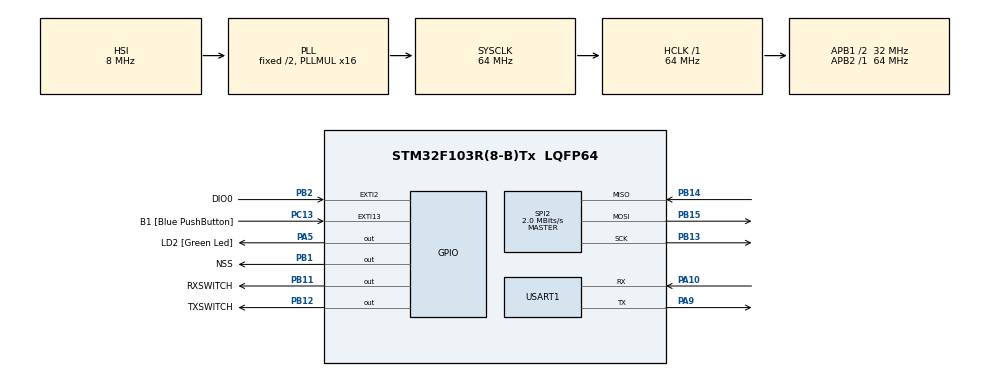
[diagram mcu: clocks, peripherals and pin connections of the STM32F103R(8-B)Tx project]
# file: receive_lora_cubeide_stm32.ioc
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Mcu.Family=STM32F1
Mcu.Name=STM32F103R(8-B)Tx
Mcu.Package=LQFP64
NVIC.EXTI15_10_IRQn=true\:0\:0\:false\:false\:true\:true\:true\:true
NVIC.EXTI2_IRQn=true\:0\:0\:false\:false\:true\:true\:true\:true
NVIC.PriorityGroup=NVIC_PRIORITYGROUP_4
PA10.Mode=Asynchronous
PA10.Signal=USART1_RX
PA13.GPIO_Label=TMS
PA13.Mode=Serial_Wire
PA13.Signal=SYS_JTMS-SWDIO
PA14.GPIO_Label=TCK
PA14.Mode=Serial_Wire
PA14.Signal=SYS_JTCK-SWCLK
PA2.GPIO_Label=USART_TX
PA2.GPIO_Mode=GPIO_MODE_AF_PP
PA2.GPIO_PuPd=GPIO_NOPULL
PA2.GPIO_Speed=GPIO_SPEED_FREQ_LOW
PA2.Signal=USART2_TX
PA3.GPIO_Label=USART_RX
PA3.GPIO_Mode=GPIO_MODE_AF_PP
PA3.GPIO_PuPd=GPIO_NOPULL
PA3.GPIO_Speed=GPIO_SPEED_FREQ_LOW
PA3.Signal=USART2_RX
PA5.GPIO_Label=LD2 [Green Led]
PA5.GPIO_ModeDefaultOutputPP=GPIO_MODE_OUTPUT_PP
PA5.GPIO_PuPd=GPIO_NOPULL
PA5.GPIO_Speed=GPIO_SPEED_FREQ_LOW
PA5.Signal=GPIO_Output
PA9.Mode=Asynchronous
PA9.Signal=USART1_TX
PB1.GPIO_Label=NSS
PB1.PinState=GPIO_PIN_SET
PB1.Signal=GPIO_Output
PB11.GPIO_Label=RXSWITCH
PB11.PinState=GPIO_PIN_SET
PB11.Signal=GPIO_Output
PB12.GPIO_Label=TXSWITCH
PB12.GPIO_PuPd=GPIO_PULLDOWN
PB12.PinState=GPIO_PIN_RESET
PB12.Signal=GPIO_Output
PB13.Mode=Full_Duplex_Master
PB13.Signal=SPI2_SCK
PB14.Mode=Full_Duplex_Master
PB14.Signal=SPI2_MISO
PB15.Mode=Full_Duplex_Master
PB15.Signal=SPI2_MOSI
PB2.GPIO_Label=DIO0
PB2.Signal=GPXTI2
PB3.GPIO_Label=SWO
PB3.Signal=SYS_JTDO-TRACESWO
PC13-TAMPER-RTC.GPIO_Label=B1 [Blue PushButton]
PC13-TAMPER-RTC.GPIO_PuPd=GPIO_NOPULL
PC13-TAMPER-RTC.Signal=GPXTI13
PC14-OSC32_IN.Mode=LSE-External-Oscillator
PC14-OSC32_IN.Signal=RCC_OSC32_IN
PC15-OSC32_OUT.Mode=LSE-External-Oscillator
PC15-OSC32_OUT.Signal=RCC_OSC32_OUT
PD0-OSC_IN.Mode=HSE-External-Clock-Source
PD0-OSC_IN.Signal=RCC_OSC_IN
PD1-OSC_OUT.Mode=HSE-External-Clock-Source
PD1-OSC_OUT.Signal=RCC_OSC_OUT
ProjectManager.HeapSize=0x200
ProjectManager.StackSize=0x400
ProjectManager.TargetToolchain=STM32CubeIDE
RCC.AHBFreq_Value=64000000
RCC.APB1CLKDivider=RCC_HCLK_DIV2
RCC.APB1Freq_Value=32000000
RCC.APB1TimFreq_Value=64000000
RCC.APB2Freq_Value=64000000
RCC.APB2TimFreq_Value=64000000
RCC.HCLKFreq_Value=64000000
RCC.PLLMUL=RCC_PLL_MUL16
RCC.RTCClockSelection=RCC_RTCCLKSOURCE_LSE
RCC.SYSCLKFreq_VALUE=64000000
RCC.SYSCLKSource=RCC_SYSCLKSOURCE_PLLCLK
RCC.USBFreq_Value=64000000
SPI2.BaudRatePrescaler=SPI_BAUDRATEPRESCALER_16
SPI2.CalculateBaudRate=2.0 MBits/s
SPI2.Direction=SPI_DIRECTION_2LINES
SPI2.Mode=SPI_MODE_MASTER
SPI2.VirtualType=VM_MASTER
USART1.VirtualMode=VM_ASYNC
board=NUCLEO-F103RB

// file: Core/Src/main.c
/* USER CODE BEGIN Header */
/**
  ******************************************************************************
  * @file           : main.c
  * @brief          : Main program body
  ******************************************************************************
  * @attention
  *
  * Copyright (c) 2024 STMicroelectronics.
  * All rights reserved.
  *
  * This software is licensed under terms that can be found in the LICENSE file
  * in the root directory of this software component.
  * If no LICENSE file comes with this software, it is provided AS-IS.
  *
  ******************************************************************************
  */
/* USER CODE END Header */
#include "main.h"

/* USER CODE BEGIN Includes */

#include <errno.h>
#include <string.h>
#include <stdio.h>
#include <stdarg.h>
#include <sx127x.h>
#include <sx127x_spi.h>
#include <inttypes.h>
#include <stdlib.h>

/* USER CODE END Includes */

/* USER CODE BEGIN PM */

#define SPI_TIMEOUT 10000

#define ERROR_CHECK(x)                                                                 \
  do {                                                                                 \
    int __err_rc = (x);                                                                \
    if (__err_rc != HAL_OK) {                                                          \
      stm_log("invalid response code: %d at %s:%d\r\n", __err_rc, __func__, __LINE__); \
      Error_Handler();                                                                 \
    }                                                                                  \
  } while (0)

/* USER CODE END PM */

SPI_HandleTypeDef hspi2;

UART_HandleTypeDef huart1;

/* USER CODE BEGIN PV */

sx127x device;
volatile int interrupt_received = 0;

/* USER CODE END PV */

void SystemClock_Config(void);
static void MX_GPIO_Init(void);
static void MX_SPI2_Init(void);
static void MX_USART1_UART_Init(void);
/* USER CODE BEGIN PFP */

void stm_log(const char *format, ...);
void rx_callback(void *ctx, uint8_t *data, uint16_t data_length);
void cad_callback(void *ctx, int cad_detected);
void HAL_GPIO_EXTI_Callback(uint16_t GPIO_Pin);

/* USER CODE END PFP */

int main(void)
{

  /* MCU Configuration--------------------------------------------------------*/

  /* Reset of all peripherals, Initializes the Flash interface and the Systick. */
  HAL_Init();

  /* Configure the system clock */
  SystemClock_Config();

  /* Initialize all configured peripherals */
  MX_GPIO_Init();
  MX_SPI2_Init();
  MX_USART1_UART_Init();
  /* USER CODE BEGIN 2 */

  stm_log("system initialized\r\n");
  ERROR_CHECK(sx127x_create(&hspi2, &device));
  stm_log("sx127x connected\r\n");
  ERROR_CHECK(sx127x_set_opmod(SX127X_MODE_STANDBY, SX127X_MODULATION_LORA, &device));
  ERROR_CHECK(sx127x_set_frequency(TEST_FREQUENCY, &device));
  ERROR_CHECK(sx127x_lora_reset_fifo(&device));
  ERROR_CHECK(sx127x_rx_set_lna_boost_hf(true, &device));
  ERROR_CHECK(sx127x_rx_set_lna_gain(SX127X_LNA_GAIN_G4, &device));
  ERROR_CHECK(sx127x_lora_set_bandwidth(SX127X_BW_125000, &device));
  ERROR_CHECK(sx127x_lora_set_implicit_header(NULL, &device));
  ERROR_CHECK(sx127x_lora_set_spreading_factor(SX127X_SF_9, &device));
  ERROR_CHECK(sx127x_lora_set_syncword(18, &device));
  ERROR_CHECK(sx127x_set_preamble_length(8, &device));
  sx127x_rx_set_callback(rx_callback, &device, &device);
  sx127x_lora_cad_set_callback(cad_callback, &device, &device);
  ERROR_CHECK(sx127x_set_opmod(SX127X_MODE_RX_CONT, SX127X_MODULATION_LORA, &device));
  stm_log("waiting for messages\r\n");

  /* USER CODE END 2 */

  /* Infinite loop */
  /* USER CODE BEGIN WHILE */
  while (1)
  {
	if (interrupt_received > 0) {
	  interrupt_received = 0;
	  //stm_log("interrupt\n");
	  sx127x_handle_interrupt(&device);
	}
    /* USER CODE END WHILE */

  }
}

void SystemClock_Config(void)
{
  RCC_OscInitTypeDef RCC_OscInitStruct = {0};
  RCC_ClkInitTypeDef RCC_ClkInitStruct = {0};

  /** Initializes the RCC Oscillators according to the specified parameters
  * in the RCC_OscInitTypeDef structure.
  */
  RCC_OscInitStruct.OscillatorType = RCC_OSCILLATORTYPE_HSI;
  RCC_OscInitStruct.HSIState = RCC_HSI_ON;
  RCC_OscInitStruct.HSICalibrationValue = RCC_HSICALIBRATION_DEFAULT;
  RCC_OscInitStruct.PLL.PLLState = RCC_PLL_ON;
  RCC_OscInitStruct.PLL.PLLSource = RCC_PLLSOURCE_HSI_DIV2;
  RCC_OscInitStruct.PLL.PLLMUL = RCC_PLL_MUL16;
  if (HAL_RCC_OscConfig(&RCC_OscInitStruct) != HAL_OK)
  {
    Error_Handler();
  }

  /** Initializes the CPU, AHB and APB buses clocks
  */
  RCC_ClkInitStruct.ClockType = RCC_CLOCKTYPE_HCLK|RCC_CLOCKTYPE_SYSCLK
                              |RCC_CLOCKTYPE_PCLK1|RCC_CLOCKTYPE_PCLK2;
  RCC_ClkInitStruct.SYSCLKSource = RCC_SYSCLKSOURCE_PLLCLK;
  RCC_ClkInitStruct.AHBCLKDivider = RCC_SYSCLK_DIV1;
  RCC_ClkInitStruct.APB1CLKDivider = RCC_HCLK_DIV2;
  RCC_ClkInitStruct.APB2CLKDivider = RCC_HCLK_DIV1;

  if (HAL_RCC_ClockConfig(&RCC_ClkInitStruct, FLASH_LATENCY_2) != HAL_OK)
  {
    Error_Handler();
  }
}

static void MX_SPI2_Init(void)
{

  /* SPI2 parameter configuration*/
  hspi2.Instance = SPI2;
  hspi2.Init.Mode = SPI_MODE_MASTER;
  hspi2.Init.Direction = SPI_DIRECTION_2LINES;
  hspi2.Init.DataSize = SPI_DATASIZE_8BIT;
  hspi2.Init.CLKPolarity = SPI_POLARITY_LOW;
  hspi2.Init.CLKPhase = SPI_PHASE_1EDGE;
  hspi2.Init.NSS = SPI_NSS_SOFT;
  hspi2.Init.BaudRatePrescaler = SPI_BAUDRATEPRESCALER_16;
  hspi2.Init.FirstBit = SPI_FIRSTBIT_MSB;
  hspi2.Init.TIMode = SPI_TIMODE_DISABLE;
  hspi2.Init.CRCCalculation = SPI_CRCCALCULATION_DISABLE;
  hspi2.Init.CRCPolynomial = 10;
  if (HAL_SPI_Init(&hspi2) != HAL_OK)
  {
    Error_Handler();
  }

}

static void MX_USART1_UART_Init(void)
{

  huart1.Instance = USART1;
  huart1.Init.BaudRate = 115200;
  huart1.Init.WordLength = UART_WORDLENGTH_8B;
  huart1.Init.StopBits = UART_STOPBITS_1;
  huart1.Init.Parity = UART_PARITY_NONE;
  huart1.Init.Mode = UART_MODE_TX_RX;
  huart1.Init.HwFlowCtl = UART_HWCONTROL_NONE;
  huart1.Init.OverSampling = UART_OVERSAMPLING_16;
  if (HAL_UART_Init(&huart1) != HAL_OK)
  {
    Error_Handler();
  }

}

static void MX_GPIO_Init(void)
{
  GPIO_InitTypeDef GPIO_InitStruct = {0};

  /* GPIO Ports Clock Enable */
  __HAL_RCC_GPIOC_CLK_ENABLE();
  __HAL_RCC_GPIOD_CLK_ENABLE();
  __HAL_RCC_GPIOA_CLK_ENABLE();
  __HAL_RCC_GPIOB_CLK_ENABLE();

  /*Configure GPIO pin Output Level */
  HAL_GPIO_WritePin(LD2_GPIO_Port, LD2_Pin, GPIO_PIN_RESET);

  /*Configure GPIO pin Output Level */
  HAL_GPIO_WritePin(GPIOB, NSS_Pin|RXSWITCH_Pin, GPIO_PIN_SET);

  /*Configure GPIO pin Output Level */
  HAL_GPIO_WritePin(TXSWITCH_GPIO_Port, TXSWITCH_Pin, GPIO_PIN_RESET);

  /*Configure GPIO pin : B1_Pin */
  GPIO_InitStruct.Pin = B1_Pin;
  GPIO_InitStruct.Mode = GPIO_MODE_IT_RISING;
  GPIO_InitStruct.Pull = GPIO_NOPULL;
  HAL_GPIO_Init(B1_GPIO_Port, &GPIO_InitStruct);

  /*Configure GPIO pins : USART_TX_Pin USART_RX_Pin */
  GPIO_InitStruct.Pin = USART_TX_Pin|USART_RX_Pin;
  GPIO_InitStruct.Mode = GPIO_MODE_AF_PP;
  GPIO_InitStruct.Speed = GPIO_SPEED_FREQ_LOW;
  HAL_GPIO_Init(GPIOA, &GPIO_InitStruct);

  /*Configure GPIO pin : LD2_Pin */
  GPIO_InitStruct.Pin = LD2_Pin;
  GPIO_InitStruct.Mode = GPIO_MODE_OUTPUT_PP;
  GPIO_InitStruct.Pull = GPIO_NOPULL;
  GPIO_InitStruct.Speed = GPIO_SPEED_FREQ_LOW;
  HAL_GPIO_Init(LD2_GPIO_Port, &GPIO_InitStruct);

  /*Configure GPIO pins : NSS_Pin RXSWITCH_Pin */
  GPIO_InitStruct.Pin = NSS_Pin|RXSWITCH_Pin;
  GPIO_InitStruct.Mode = GPIO_MODE_OUTPUT_PP;
  GPIO_InitStruct.Pull = GPIO_NOPULL;
  GPIO_InitStruct.Speed = GPIO_SPEED_FREQ_LOW;
  HAL_GPIO_Init(GPIOB, &GPIO_InitStruct);

  /*Configure GPIO pin : DIO0_Pin */
  GPIO_InitStruct.Pin = DIO0_Pin;
  GPIO_InitStruct.Mode = GPIO_MODE_IT_RISING;
  GPIO_InitStruct.Pull = GPIO_NOPULL;
  HAL_GPIO_Init(DIO0_GPIO_Port, &GPIO_InitStruct);

  /*Configure GPIO pin : TXSWITCH_Pin */
  GPIO_InitStruct.Pin = TXSWITCH_Pin;
  GPIO_InitStruct.Mode = GPIO_MODE_OUTPUT_PP;
  GPIO_InitStruct.Pull = GPIO_PULLDOWN;
  GPIO_InitStruct.Speed = GPIO_SPEED_FREQ_LOW;
  HAL_GPIO_Init(TXSWITCH_GPIO_Port, &GPIO_InitStruct);

  /* EXTI interrupt init*/
  HAL_NVIC_SetPriority(EXTI2_IRQn, 0, 0);
  HAL_NVIC_EnableIRQ(EXTI2_IRQn);

  HAL_NVIC_SetPriority(EXTI15_10_IRQn, 0, 0);
  HAL_NVIC_EnableIRQ(EXTI15_10_IRQn);

}

/* USER CODE BEGIN 4 */

void stm_log(const char *format, ...) {
  char temp[1024];
  memset(temp, '\0', 1024);
  va_list args;
  va_start(args, format);
  vsnprintf(temp, 1023, format, args);
  HAL_UART_Transmit(&huart1, (uint8_t *)temp, strlen(temp), 1000);
  va_end(args);
}

void rx_callback(void *ctx, uint8_t *data, uint16_t data_length) {
  sx127x *device = (sx127x *)ctx;
  uint8_t payload[514];
  const char SYMBOLS[] = "0123456789ABCDEF";
  for (size_t i = 0; i < data_length; i++) {
    uint8_t cur = data[i];
    payload[2 * i] = SYMBOLS[cur >> 4];
    payload[2 * i + 1] = SYMBOLS[cur & 0x0F];
  }
  payload[data_length * 2] = '\0';

  int16_t rssi;
  ERROR_CHECK(sx127x_rx_get_packet_rssi(device, &rssi));
  float snr;
  ERROR_CHECK(sx127x_lora_rx_get_packet_snr(device, &snr));
  int32_t frequency_error;
  ERROR_CHECK(sx127x_rx_get_frequency_error(device, &frequency_error));
  stm_log("received: %d %s rssi: %d snr: %f freq_error: %" PRId32 "\r\n", data_length, payload, rssi, snr, frequency_error);
}

void cad_callback(void *ctx, int cad_detected) {
  sx127x *device = (sx127x *)ctx;
  if (cad_detected == 0) {
    stm_log("cad not detected\r\n");
    ERROR_CHECK(sx127x_set_opmod(SX127X_MODE_CAD, SX127X_MODULATION_LORA, device));
    return;
  }
  // put into RX mode first to handle interrupt as soon as possible
  ERROR_CHECK(sx127x_set_opmod(SX127X_MODE_RX_CONT, SX127X_MODULATION_LORA, device));
  stm_log("cad detected\r\n");
}

void HAL_GPIO_EXTI_Callback(uint16_t GPIO_Pin) {
  if (GPIO_Pin == DIO0_Pin) {
    interrupt_received = 1;
  }
}

int sx127x_spi_read_registers(int reg, void *spi_device, size_t data_length, uint32_t *result) {
  if (data_length == 0 || data_length > 4) {
    return -1;
  }
  uint64_t tx_buf = ((uint8_t)reg & 0x7F);
  uint64_t rx_buf = 0;
  HAL_GPIO_WritePin( NSS_GPIO_Port, NSS_Pin, GPIO_PIN_RESET );
  int code = HAL_SPI_TransmitReceive(spi_device, (uint8_t *)&tx_buf, (uint8_t *)&rx_buf, data_length + 1, SPI_TIMEOUT);
  HAL_GPIO_WritePin( NSS_GPIO_Port, NSS_Pin, GPIO_PIN_SET );
  if (code != 0) {
    *result = 0;
    return code;
  }
  *result = __builtin_bswap32(rx_buf >> 8) >> (4 - data_length) * 8;
  return 0;
}

int sx127x_spi_read_buffer(int reg, uint8_t *buffer, size_t buffer_length, void *spi_device) {
  if (buffer_length < 1) {
    return 0;
  }
  uint8_t *rx_buf = malloc(buffer_length + 1);
  uint8_t *tx_buf = malloc(buffer_length + 1);
  if (rx_buf == NULL || tx_buf == NULL) {
    return ENOMEM;
  }
  memset(tx_buf, 0, buffer_length + 1); // just in case
  tx_buf[0] = ((uint8_t)reg & 0x7F);
  HAL_GPIO_WritePin( NSS_GPIO_Port, NSS_Pin, GPIO_PIN_RESET );
  int code = HAL_SPI_TransmitReceive(spi_device, tx_buf, rx_buf, buffer_length + 1, SPI_TIMEOUT);
  HAL_GPIO_WritePin( NSS_GPIO_Port, NSS_Pin, GPIO_PIN_SET );
  if (code == 0) {
    // shift 1 byte to the right
    memcpy(buffer, rx_buf + 1, buffer_length);
  }
  free(rx_buf);
  free(tx_buf);
  return 0;
}

int sx127x_spi_write_register(int reg, const uint8_t *data, size_t data_length, void *spi_device) {
  if (data_length == 0 || data_length > 4) {
    return -1;
  }
  uint8_t tmp[5] = {0};
  tmp[0] = reg | 0x80;
  memcpy(tmp + 1, data, data_length);
  HAL_GPIO_WritePin( NSS_GPIO_Port, NSS_Pin, GPIO_PIN_RESET );
  int code = HAL_SPI_Transmit(spi_device, tmp, data_length + 1, SPI_TIMEOUT);
  HAL_GPIO_WritePin( NSS_GPIO_Port, NSS_Pin, GPIO_PIN_SET );
  return code;
}

int sx127x_spi_write_buffer(int reg, const uint8_t *buffer, size_t buffer_length, void *spi_device) {
  uint8_t *tmp = malloc(buffer_length + 1);
  if (tmp == NULL) {
    return ENOMEM;
  }
  tmp[0] = reg | 0x80;
  memcpy(tmp + 1, buffer, buffer_length);
  HAL_GPIO_WritePin( NSS_GPIO_Port, NSS_Pin, GPIO_PIN_RESET );
  int code = HAL_SPI_Transmit(spi_device, tmp, buffer_length + 1, SPI_TIMEOUT);
  HAL_GPIO_WritePin( NSS_GPIO_Port, NSS_Pin, GPIO_PIN_SET );
  free(tmp);
  return code;
}

/* USER CODE END 4 */

void Error_Handler(void)
{
  __disable_irq();
  while (1)
  {
  }
}
